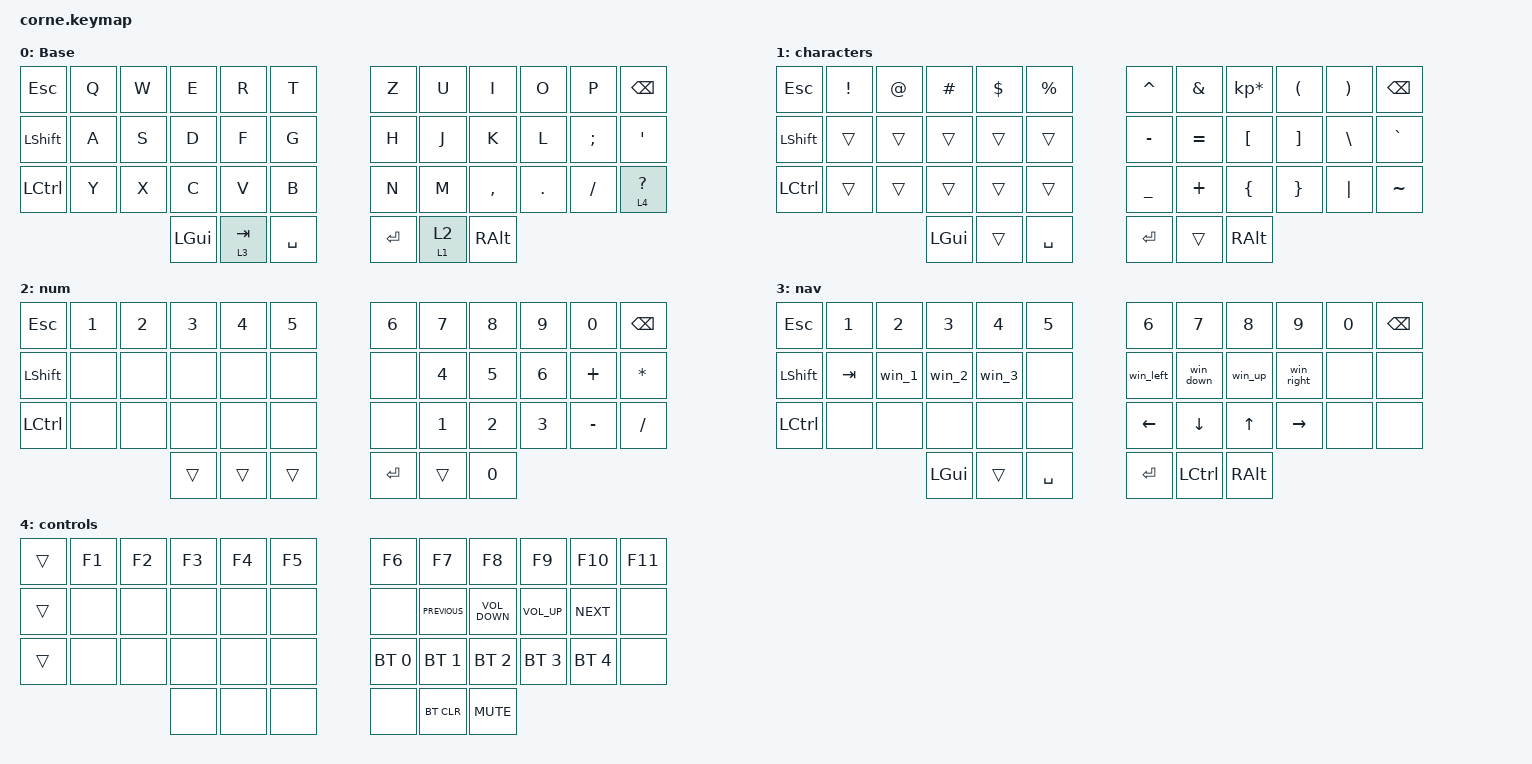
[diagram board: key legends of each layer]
/*
 * Copyright (c) 2020 The ZMK Contributors
 *
 * SPDX-License-Identifier: MIT
 */

#include <behaviors.dtsi>
#include <dt-bindings/zmk/bt.h>
#include <dt-bindings/zmk/keys.h>

/ {
    macros {
        win_left: win_left {
            compatible = "zmk,behavior-macro";
            #binding-cells = <0>;
            bindings = <&kp LG(LEFT_ARROW)>;
            label = "WIN_LEFT";
        };

        win_down: win_down {
            compatible = "zmk,behavior-macro";
            #binding-cells = <0>;
            bindings = <&kp LG(DOWN_ARROW)>;
            label = "WIN_DOWN";
        };

        win_up: win_up {
            compatible = "zmk,behavior-macro";
            #binding-cells = <0>;
            bindings = <&kp LG(UP_ARROW)>;
            label = "WIN_UP";
        };

        win_right: win_right {
            compatible = "zmk,behavior-macro";
            #binding-cells = <0>;
            bindings = <&kp LG(RIGHT_ARROW)>;
            label = "WIN_RIGHT";
        };

        win_1: win_1 {
            compatible = "zmk,behavior-macro";
            #binding-cells = <0>;
            bindings = <&kp LG(NUMBER_1)>;
            label = "WIN_1";
        };

        win_2: win_2 {
            compatible = "zmk,behavior-macro";
            #binding-cells = <0>;
            bindings = <&kp LG(NUMBER_2)>;
            label = "WIN_2";
        };

        win_3: win_3 {
            compatible = "zmk,behavior-macro";
            #binding-cells = <0>;
            bindings = <&kp LG(NUMBER_3)>;
            label = "WIN_3";
        };
    };

    behaviors {
        mo_tog_layer: mo_tog_layer {
            compatible = "zmk,behavior-hold-tap";
            label = "MO_TOG_LAYER";
            bindings = <&mo>, <&tog>;

            #binding-cells = <2>;
            tapping-term-ms = <280>;
            quick-tap-ms = <175>;
        };
    };

    keymap {
        compatible = "zmk,keymap";

        base {
            // -----------------------------------------------------------------------------------------
            // |  TAB |  Q  |  W  |  E  |  R  |  T  |   |  Y  |  U   |  I  |  O  |  P  | BKSP |
            // | CTRL |  A  |  S  |  D  |  F  |  G  |   |  H  |  J   |  K  |  L  |  ;  |  '   |
            // | SHFT |  Z  |  X  |  C  |  V  |  B  |   |  N  |  M   |  ,  |  .  |  /  | ESC  |
            //                    | GUI | LWR | SPC |   | ENT | RSE  | ALT |

            display-name = "Base";
            bindings = <
&kp ESC     &kp Q  &kp W  &kp E     &kp R      &kp T        &kp Z    &kp U              &kp I      &kp O    &kp P     &kp BSPC
&kp LSHIFT  &kp A  &kp S  &kp D     &kp F      &kp G        &kp H    &kp J              &kp K      &kp L    &kp SEMI  &kp SQT
&kp LCTRL   &kp Y  &kp X  &kp C     &kp V      &kp B        &kp N    &kp M              &kp COMMA  &kp DOT  &kp FSLH  &lt 4 QUESTION
                          &kp LGUI  &lt 3 TAB  &kp SPACE    &kp RET  &mo_tog_layer 1 2  &kp RALT
            >;

            label = "base";
        };

        characters {
            // -----------------------------------------------------------------------------------------
            // |  TAB |  !  |  @  |  #  |  $  |  %  |   |  ^  |  &  |  *  |  (  |  )  | BKSP |
            // | CTRL |     |     |     |     |     |   |  -  |  =  |  [  |  ]  |  \  |  `   |
            // | SHFT |     |     |     |     |     |   |  _  |  +  |  {  |  }  | "|" |  ~   |
            //                    | GUI |     | SPC |   | ENT |     | ALT |

            display-name = "characters";
            bindings = <
&kp ESCAPE        &kp EXCL  &kp AT  &kp HASH  &kp DLLR  &kp PRCNT    &kp CARET  &kp AMPS   &kp KP_MULTIPLY  &kp LPAR  &kp RPAR  &kp BSPC
&kp LEFT_SHIFT    &trans    &trans  &trans    &trans    &trans       &kp MINUS  &kp EQUAL  &kp LBKT         &kp RBKT  &kp BSLH  &kp GRAVE
&kp LEFT_CONTROL  &trans    &trans  &trans    &trans    &trans       &kp UNDER  &kp PLUS   &kp LBRC         &kp RBRC  &kp PIPE  &kp TILDE
                                    &kp LGUI  &trans    &kp SPACE    &kp RET    &trans     &kp RALT
            >;
        };

        num {
            bindings = <
&kp ESC           &kp NUMBER_1  &kp NUMBER_2  &kp NUMBER_3  &kp NUMBER_4  &kp N5    &kp NUMBER_6  &kp NUMBER_7  &kp NUMBER_8  &kp NUMBER_9  &kp N0     &kp BACKSPACE
&kp LSHFT         &none         &none         &none         &none         &none     &none         &kp NUMBER_4  &kp N5        &kp NUMBER_6  &kp PLUS   &kp ASTERISK
&kp LEFT_CONTROL  &none         &none         &none         &none         &none     &none         &kp NUMBER_1  &kp NUMBER_2  &kp NUMBER_3  &kp MINUS  &kp SLASH
                                              &trans        &trans        &trans    &kp ENTER     &trans        &kp N0
            >;

            label = "num";
        };

        nav {
            // -----------------------------------------------------------------------------------------
            // |  TAB |  1  |  2  |  3  |  4  |  5  |   |  6  |  7  |  8  |  9  |  0  | BKSP |
            // | BTCLR| BT1 | BT2 | BT3 | BT4 | BT5 |   | LFT | DWN |  UP | RGT |     |      |
            // | SHFT |     |     |     |     |     |   |     |     |     |     |     |      |
            //                    | GUI |     | SPC |   | ENT |     | ALT |

            display-name = "nav";
            bindings = <
&kp ESCAPE  &kp N1   &kp N2  &kp N3    &kp N4  &kp N5       &kp N6          &kp N7          &kp N8        &kp N9           &kp N0  &kp BSPC
&kp LSHFT   &kp TAB  &win_1  &win_2    &win_3  &none        &win_left       &win_down       &win_up       &win_right       &none   &none
&kp LCTRL   &none    &none   &none     &none   &none        &kp LEFT_ARROW  &kp DOWN_ARROW  &kp UP_ARROW  &kp RIGHT_ARROW  &none   &none
                             &kp LGUI  &trans  &kp SPACE    &kp RET         &kp LCTRL       &kp RALT
            >;
        };

        controls {
            bindings = <
&trans  &kp F1  &kp F2  &kp F3  &kp F4  &kp F5    &kp F6        &kp F7          &kp F8             &kp F9           &kp F10       &kp F11
&trans  &none   &none   &none   &none   &none     &none         &kp C_PREVIOUS  &kp C_VOLUME_DOWN  &kp C_VOLUME_UP  &kp C_NEXT    &none
&trans  &none   &none   &none   &none   &none     &bt BT_SEL 0  &bt BT_SEL 1    &bt BT_SEL 2       &bt BT_SEL 3     &bt BT_SEL 4  &none
                        &none   &none   &none     &none         &bt BT_CLR      &kp K_MUTE
            >;

            label = "controls";
        };
    };
};
